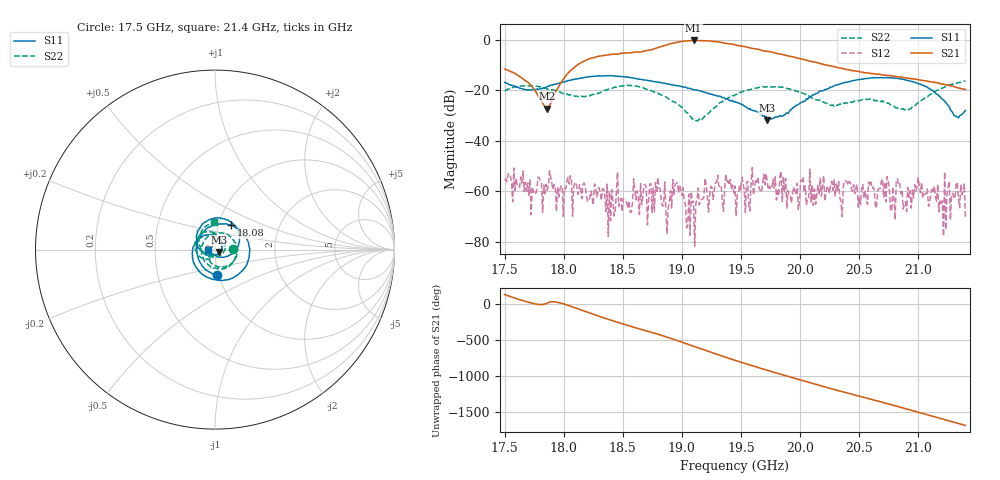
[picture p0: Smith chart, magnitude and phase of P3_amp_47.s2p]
!Created with skrf (http://scikit-rf.org).
# GHz S RI R 50.0
!freq ReS11 ImS11 ReS21 ImS21 ReS12 ImS12 ReS22 ImS22
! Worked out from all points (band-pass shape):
!   401 points, 17.5 GHz to 21.4 GHz, reference 50 ohm
!   highest |S21| = -0.21 dB at 19.1 GHz (marker M1); lowest = -27.2 dB at 17.86 GHz (marker M2)
!   |S21| within 3 dB of the highest: 18.78 GHz to 19.58 GHz (792.6 MHz wide, 4.13 % of centre)
!   lowest |S11| = -31.9 dB at 19.72 GHz (marker M3), VSWR 1.05, Z = 52.2 - j1.43 ohm
!   |S11| at or under -10 dB: start of sweep to end of sweep
!   |S22| runs from -32.1 to -16.2 dB; largest |S21 - S12| = 0.98
!   S11 on the Smith chart (normalised r, x): 17.5 GHz: 0.98, -0.29; 18.08 GHz: 1.15, +0.32; 21.4 GHz: 0.92, -0.00
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17.5  0.00846 -0.1438  -0.1487 0.2186  -0.00153 -0.000593  0.0983 0.00134
17.86075  -0.0627 0.0994  0.0431 0.00534  0.000156 0.00103  0.0142 -0.1053
18.07525  0.0886 0.1364  0.1879 -0.1895  0.000296 0.000118  -0.0737 -0.0308
18.15325  0.1409 0.1037  -0.0043 -0.3613  0.000711 -4.07e-05  -0.0739 0.0191
18.319  0.1916 -0.0216  -0.4821 0.0557  -0.000234 -0.000615  0.0113 0.0926
18.4945  0.1124 -0.1489  0.0745 0.541  7.77e-05 -0.00039  0.1217 0.0169
18.66025  -0.0216 -0.163  0.5826 0.0186  0.000371 -0.000399  0.0667 -0.0924
18.8065  -0.1054 -0.0995  0.279 -0.6637  -0.000115 -0.00116  -0.00861 -0.0845
18.8845  -0.1242 -0.0481  -0.2485 -0.7767  -0.000315 0.000347  -0.0284 -0.0629
18.99175  -0.1178 0.0213  -0.9062 -0.1942  -0.000458 -0.000935  -0.0332 -0.0344
19.05025  -0.098 0.0493  -0.8925 0.3502  0.000114 0.000187  -0.0262 -0.0233
19.099  -0.0792 0.0669  -0.6357 0.7404  -0.000369 0.000516  -0.0187 -0.0196
19.18675  -0.0432 0.0819  0.1495 0.9567  -0.00037 0.000662  -0.00961 -0.0278
19.294  -3.81e-05 0.0782  0.8594 0.3371  0.00036 0.00146  -0.0183 -0.0446
19.45  0.0347 0.0488  0.3689 -0.7119  0.000551 0.00114  -0.0649 -0.0493
19.606  0.0382 0.00982  -0.5269 -0.4212  0.000569 0.000631  -0.108 -0.00288
19.723  0.0212 -0.0137  -0.5607 0.1936  0.000819 -0.00123  -0.1058 0.053
19.879  -0.0113 -0.0326  0.0472 0.4927  0.000787 -0.00161  -0.0484 0.0992
20.10325  -0.0797 -0.00639  0.3462 -0.1302  -0.000397 -0.0013  0.014 0.0685
20.41525  -0.0825 0.1239  -0.2396 -0.0895  -0.00137 0.000764  0.0121 0.0577
20.7565  0.0854 0.1559  0.1203 0.1557  0.000363 0.00103  0.0543 -0.0049
21.4  -0.0399 -0.00131  -0.0511 0.0911  7.47e-05 -0.000292  -0.00803 0.1541
